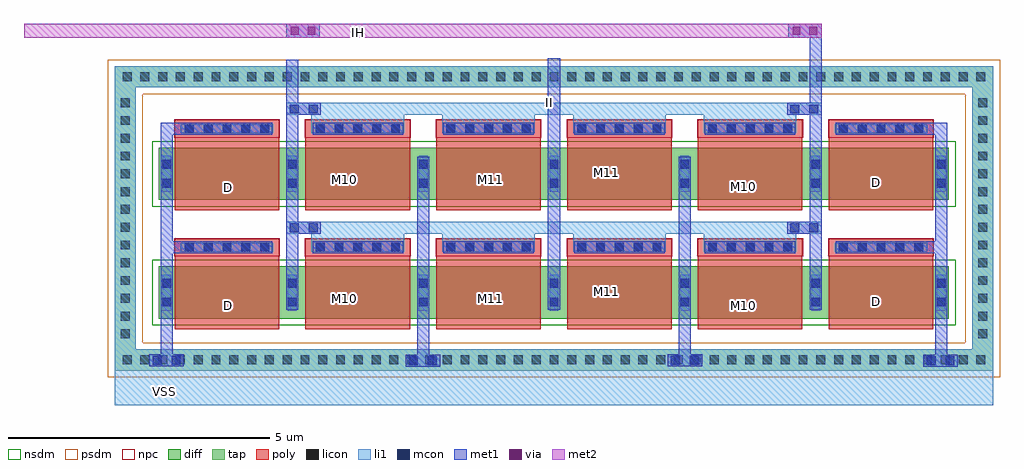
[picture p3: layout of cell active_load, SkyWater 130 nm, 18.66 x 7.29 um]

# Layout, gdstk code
from math import pi, radians
import gdstk
lib = gdstk.Library(unit=1e-6, precision=1e-09)
def R(c, l, rs):  # rectangles x0, y0, x1, y1
    for r in rs: c.add(gdstk.rectangle(r[:2], r[2:], *l))
def A(c, l, x, y, w, h, nx, ny, dx, dy):  # array of equal rectangles
    R(c, l, [(x+i*dx, y+j*dy, x+i*dx+w, y+j*dy+h) for i in range(nx) for j in range(ny)])
diff = (65, 20)
tap = (65, 44)
poly = (66, 20)
licon = (66, 44)
li1 = (67, 20)
mcon = (67, 44)
met1 = (68, 20)
via = (68, 44)
met2 = (69, 20)
nsdm = (93, 44)
psdm = (94, 20)
npc = (95, 20)

vias_gen_2 = lib.new_cell('vias_gen$2')
R(vias_gen_2, met1, [(0,0,0.64,0.26)])
R(vias_gen_2, via, [(0.085,0.055,0.235,0.205), (0.405,0.055,0.555,0.205)])
R(vias_gen_2, met2, [(0,0,0.64,0.26)])

vias_gen_1 = lib.new_cell('vias_gen$1')
R(vias_gen_1, li1, [(0,0,0.66,0.23)])
R(vias_gen_1, mcon, [(0.065,0.03,0.235,0.2), (0.425,0.03,0.595,0.2)])
R(vias_gen_1, met1, [(0,0,0.66,0.23)])

vias_gen_17 = lib.new_cell('vias_gen$17')
R(vias_gen_17, tap, [(0,0,0.41,16.8)])
A(vias_gen_17, licon, 0.12, 0.155, 0.17, 0.17, 1, 49, 0, 0.34)
R(vias_gen_17, li1, [(0,0,0.41,16.8)])
R(vias_gen_17, psdm, [(-0.125,-0.125,0.535,16.925)])

vias_gen_13 = lib.new_cell('vias_gen$13')
R(vias_gen_13, tap, [(0,0,0.41,5)])
A(vias_gen_13, licon, 0.12, 0.205, 0.17, 0.17, 1, 14, 0, 0.34)
R(vias_gen_13, li1, [(0,0,0.41,5)])
R(vias_gen_13, psdm, [(-0.125,-0.125,0.535,5.125)])

nfet_3 = lib.new_cell('nfet$3')
R(nfet_3, diff, [(0,0,15.1,1)])
A(nfet_3, poly, 0.3, -0.2, 2, 1.4, 6, 1, 2.5, 0)
A(nfet_3, poly, 0.3, 1.2, 2, 0.33, 6, 1, 2.5, 0)
A(nfet_3, licon, 2.465, 0.235, 0.17, 0.17, 5, 2, 2.5, 0.36)
A(nfet_3, licon, 0.495, 1.28, 0.17, 0.17, 5, 1, 0.36, 0)
A(nfet_3, licon, 2.995, 1.28, 0.17, 0.17, 5, 1, 0.36, 0)
A(nfet_3, licon, 5.495, 1.28, 0.17, 0.17, 5, 1, 0.36, 0)
A(nfet_3, licon, 7.995, 1.28, 0.17, 0.17, 5, 1, 0.36, 0)
A(nfet_3, licon, 10.495, 1.28, 0.17, 0.17, 5, 1, 0.36, 0)
A(nfet_3, licon, 12.995, 1.28, 0.17, 0.17, 5, 1, 0.36, 0)
R(nfet_3, licon, [(0.065,0.235,0.235,0.405), (14.865,0.235,15.035,0.405), (0.065,0.595,0.235,0.765), (14.865,0.595,15.035,0.765)])
A(nfet_3, li1, 2.465, 0.155, 0.17, 0.69, 5, 1, 2.5, 0)
A(nfet_3, li1, 0.415, 1.28, 1.77, 0.17, 6, 1, 2.5, 0)
R(nfet_3, li1, [(0.065,0.155,0.235,0.845), (14.865,0.155,15.035,0.845)])
A(nfet_3, mcon, 2.465, 0.235, 0.17, 0.17, 5, 2, 2.5, 0.36)
A(nfet_3, mcon, 0.495, 1.28, 0.17, 0.17, 5, 1, 0.36, 0)
A(nfet_3, mcon, 2.995, 1.28, 0.17, 0.17, 5, 1, 0.36, 0)
A(nfet_3, mcon, 5.495, 1.28, 0.17, 0.17, 5, 1, 0.36, 0)
A(nfet_3, mcon, 7.995, 1.28, 0.17, 0.17, 5, 1, 0.36, 0)
A(nfet_3, mcon, 10.495, 1.28, 0.17, 0.17, 5, 1, 0.36, 0)
A(nfet_3, mcon, 12.995, 1.28, 0.17, 0.17, 5, 1, 0.36, 0)
R(nfet_3, mcon, [(0.065,0.235,0.235,0.405), (14.865,0.235,15.035,0.405), (0.065,0.595,0.235,0.765), (14.865,0.595,15.035,0.765)])
A(nfet_3, met1, 2.435, 0.175, 0.23, 0.65, 5, 1, 2.5, 0)
A(nfet_3, met1, 0.435, 1.25, 1.73, 0.23, 6, 1, 2.5, 0)
R(nfet_3, met1, [(0.035,0.175,0.265,0.825), (14.835,0.175,15.065,0.825)])
R(nfet_3, nsdm, [(-0.125,-0.125,15.225,1.125)])
A(nfet_3, npc, 0.29, 1.19, 2.02, 0.35, 6, 1, 2.5, 0)

active_load = lib.new_cell('active_load')
A(active_load, li1, 16.9, 28.695, 1.77, 0.405, 4, 2, 2.5, 2.27)
R(active_load, li1, [(13.135,25.595,29.935,26.665), (17.08,28.87,26.62,29.1), (17.08,31.14,26.62,31.37)])
R(active_load, met1, [(28.82,26.42,29.05,28.725), (14.02,26.44,14.25,30.995), (18.92,26.44,19.15,27.42), (23.92,26.45,24.15,29.69), (18.92,26.91,19.15,29.69), (23.92,26.945,24.15,27.42), (28.82,27.42,29.05,30.995), (16.42,28.07,16.65,32.2), (21.42,28.07,21.65,30.515), (26.42,28.07,26.65,32.88), (14.02,28.495,14.42,28.725), (28.65,28.495,29.05,28.725), (14.02,30.34,14.25,30.995), (16.42,30.34,16.65,31.37), (21.42,30.34,21.65,32.22), (26.42,30.34,26.65,31.37), (14.02,30.765,14.42,30.995), (28.65,30.765,29.05,30.995)])
R(active_load, met2, [(11.405,32.62,26.65,32.88)])
active_load.add(gdstk.Reference(vias_gen_2, (26.01,32.62)))
active_load.add(gdstk.Reference(vias_gen_2, (16.42,32.62)))
active_load.add(gdstk.Reference(vias_gen_1, (28.595,26.33)))
active_load.add(gdstk.Reference(vias_gen_1, (23.705,26.34)))
active_load.add(gdstk.Reference(vias_gen_1, (18.7,26.325)))
active_load.add(gdstk.Reference(vias_gen_1, (13.8,26.34)))
active_load.add(gdstk.Reference(vias_gen_17, (13.135,32.075), rotation=3*pi/2))
active_load.add(gdstk.Reference(vias_gen_13, (29.525,26.665)))
active_load.add(gdstk.Reference(vias_gen_13, (13.135,26.665)))
active_load.add(gdstk.Reference(vias_gen_17, (13.135,26.665), rotation=3*pi/2))
active_load.add(gdstk.Reference(vias_gen_1, (25.99,28.87)))
active_load.add(gdstk.Reference(vias_gen_1, (16.42,28.87)))
active_load.add(gdstk.Reference(nfet_3, (13.985,27.245)))
active_load.add(gdstk.Reference(vias_gen_1, (25.99,31.14)))
active_load.add(gdstk.Reference(vias_gen_1, (16.42,31.14)))
active_load.add(gdstk.Reference(nfet_3, (13.985,29.515)))
active_load.add(gdstk.Label('VSS', (14.095,25.855), layer=67, texttype=16))
active_load.add(gdstk.Label('IH', (17.79,32.715), layer=69, texttype=16))
active_load.add(gdstk.Label('II', (21.445,31.385), layer=68, texttype=16))
active_load.add(gdstk.Label('M11', (22.535,27.77), layer=68, texttype=5))
active_load.add(gdstk.Label('M11', (20.315,27.63), layer=68, texttype=5))
active_load.add(gdstk.Label('M10', (25.165,27.5), layer=68, texttype=5))
active_load.add(gdstk.Label('M10', (17.535,27.63), layer=68, texttype=5))
active_load.add(gdstk.Label('D', (27.69,27.57), layer=68, texttype=5))
active_load.add(gdstk.Label('D', (15.315,27.49), layer=68, texttype=5))
active_load.add(gdstk.Label('M11', (22.535,30.04), layer=68, texttype=5))
active_load.add(gdstk.Label('M11', (20.315,29.9), layer=68, texttype=5))
active_load.add(gdstk.Label('M10', (25.165,29.77), layer=68, texttype=5))
active_load.add(gdstk.Label('M10', (17.535,29.9), layer=68, texttype=5))
active_load.add(gdstk.Label('D', (27.69,29.84), layer=68, texttype=5))
active_load.add(gdstk.Label('D', (15.315,29.76), layer=68, texttype=5))

lib.write_gds('active_load.gds')
